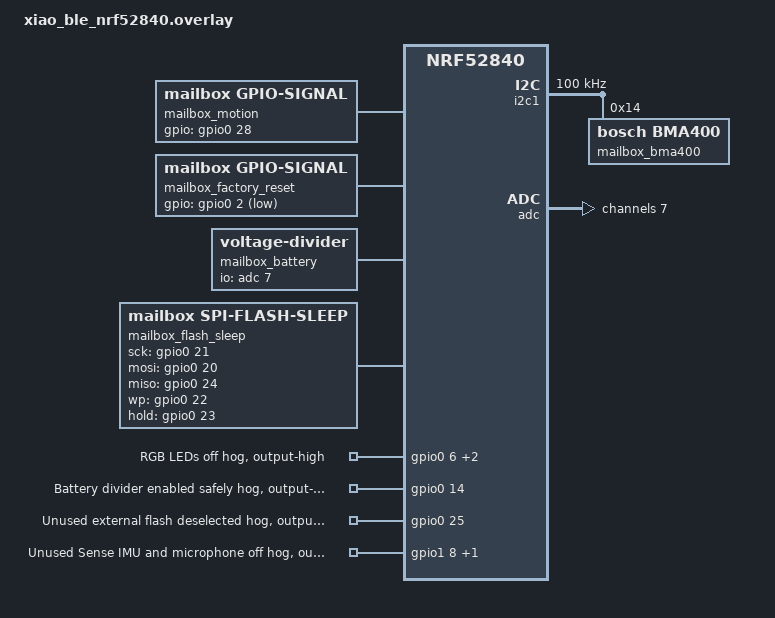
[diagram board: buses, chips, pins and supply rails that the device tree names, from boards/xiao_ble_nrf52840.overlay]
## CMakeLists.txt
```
# SPDX-License-Identifier: GPL-3.0-or-later
cmake_minimum_required(VERSION 3.20.0)
list(APPEND DTS_ROOT ${CMAKE_CURRENT_SOURCE_DIR})
# NCS 3.4.1 caches these internal header names without Kconfig string quotes.
# Do not let an incremental configure import them as command-line overrides.
foreach(header MBEDTLS_CONFIG_FILE TF_PSA_CRYPTO_CONFIG_FILE TF_PSA_CRYPTO_USER_CONFIG_FILE)
    unset(CONFIG_${header} CACHE)
    unset(CLI_CONFIG_${header} CACHE)
endforeach()
find_package(Zephyr REQUIRED HINTS $ENV{ZEPHYR_BASE})
project(nrf_mailbox_motion)
set(MAILBOX_ZAP_EXECUTABLE "$ENV{ZAP_CLI}" CACHE FILEPATH "Installed ZAP CLI executable")
if(NOT MAILBOX_ZAP_EXECUTABLE)
    find_program(MAILBOX_ZAP_EXECUTABLE_PATH NAMES zap-cli REQUIRED)
    set(MAILBOX_ZAP_EXECUTABLE "${MAILBOX_ZAP_EXECUTABLE_PATH}")
endif()
set(MAILBOX_MATTER_OUTPUT "${CMAKE_BINARY_DIR}/matter")
# Matter's Python codegen reads the IDL during configuration, so generate both
# the IDL and ZAP sources here, before configuring the SDK data model.
file(GLOB_RECURSE MAILBOX_ZAP_TEMPLATES CONFIGURE_DEPENDS
    "${ZEPHYR_CONNECTEDHOMEIP_MODULE_DIR}/src/app/zap-templates/*"
    "${ZEPHYR_CONNECTEDHOMEIP_MODULE_DIR}/src/app/common/templates/*"
)
set_property(DIRECTORY APPEND PROPERTY CMAKE_CONFIGURE_DEPENDS
    "${CMAKE_CURRENT_SOURCE_DIR}/src/data_model/mailbox-motion.zap"
    "${CMAKE_CURRENT_SOURCE_DIR}/scripts/generate.py"
    "${CMAKE_CURRENT_SOURCE_DIR}/scripts/nordic.py"
    "${MAILBOX_ZAP_EXECUTABLE}"
    ${MAILBOX_ZAP_TEMPLATES}
)
execute_process(
    COMMAND "${Python3_EXECUTABLE}" "${CMAKE_CURRENT_SOURCE_DIR}/scripts/generate.py"
        --zap "${MAILBOX_ZAP_EXECUTABLE}" --output-dir "${MAILBOX_MATTER_OUTPUT}"
    RESULT_VARIABLE MAILBOX_ZAP_RESULT
)
if(NOT MAILBOX_ZAP_RESULT EQUAL 0)
    message(FATAL_ERROR "Matter generation failed. Select an installed compatible ZAP CLI with --zap or ZAP_CLI.")
endif()
# Reconfigure if a generated file is removed, including builds run directly
# through Ninja rather than the Python wrapper.
file(GLOB_RECURSE MAILBOX_MATTER_GENERATED_FILES "${MAILBOX_MATTER_OUTPUT}/*")
set_property(DIRECTORY APPEND PROPERTY CMAKE_CONFIGURE_DEPENDS ${MAILBOX_MATTER_GENERATED_FILES})
include(${ZEPHYR_CONNECTEDHOMEIP_MODULE_DIR}/config/nrfconnect/app/enable-gnu-std.cmake)
set(MATTER_COMMON ${ZEPHYR_NRF_MODULE_DIR}/samples/matter/common/src)
target_include_directories(app PRIVATE src ${MAILBOX_MATTER_OUTPUT} ${MATTER_COMMON})
target_sources(app PRIVATE
    src/main.cpp src/app_task.cpp src/battery_monitor.cpp src/board_power.cpp src/radio_power.cpp
    src/bma400/Bma400Motion.cpp src/bma400/bma400.c
    ${MATTER_COMMON}/app/matter_init.cpp
    ${MATTER_COMMON}/app/matter_event_handler.cpp
    ${MATTER_COMMON}/clusters/cluster_init.cpp
)
zephyr_linker_sources(SECTIONS ${MATTER_COMMON}/clusters/cluster_init.ld)
target_sources_ifdef(CONFIG_MAILBOX_BOOT_DIAGNOSTICS app PRIVATE src/boot_diagnostics.cpp)
target_sources_ifdef(CONFIG_MAILBOX_BOOT_DIAGNOSTICS app PRIVATE src/boot_crash_diagnostics.cpp)
zephyr_link_libraries_ifdef(CONFIG_MAILBOX_BOOT_DIAGNOSTICS -Wl,--wrap=abort)
target_include_directories(matter-data-model PUBLIC "${MAILBOX_MATTER_OUTPUT}")
include(${ZEPHYR_CONNECTEDHOMEIP_MODULE_DIR}/src/app/chip_data_model.cmake)
chip_configure_data_model(matter-data-model
    BYPASS_IDL
    ZAP_FILE ${CMAKE_CURRENT_SOURCE_DIR}/src/data_model/mailbox-motion.zap
    IDL "${MAILBOX_MATTER_OUTPUT}/mailbox-motion.matter"
    GEN_DIR "${MAILBOX_MATTER_OUTPUT}/zap-generated"
)
```

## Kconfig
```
# SPDX-License-Identifier: GPL-3.0-or-later
mainmenu "XIAO Nordic Matter mailbox sensor"

# Nonblocking RTT when it is the selected backend. A choice default avoids
# assigning a disabled RTT choice in UART console builds.
if LOG_BACKEND_RTT
choice LOG_BACKEND_RTT_MODE
    default LOG_BACKEND_RTT_MODE_DROP
endchoice
endif

config MAILBOX_BATTERY_INSTALLED
    bool "A rechargeable LiPo battery is fitted"
    default n
    select ADC
    help
      Explicit opt-in. Charger voltage alone does not prove a battery is fitted.

config MAILBOX_RF_SWITCH_POWER_CONTROL
    bool "Power the XIAO antenna switch only during radio activity"
    depends on $(dt_nodelabel_enabled,mailbox_rf_power)
    depends on MPSL
    default y
    help
      Use MPSL ACTIVE/INACTIVE notifications to power the antenna switch
      for complete radio events, including Thread and Bluetooth activity.
      If registration fails, leave the switch powered so the radio works.
      Disabling this option keeps the antenna switch powered continuously.

config MAILBOX_BOOT_DIAGNOSTICS
    bool "Trace nRF52840 startup in USB diagnostic builds"
    depends on SOC_NRF52840 && USB_DEVICE_STACK
    default n
    help
      Diagnostic USB builds can show how far initialization progressed before
      main() or USB output is available. Direct RGB writes mark early startup;
      numbered pulse groups and bounded pauses trace application initialization.
      Leave disabled for normal battery-powered operation.

if OPENTHREAD
choice OPENTHREAD_NORDIC_LIBRARY_CONFIGURATION
    default OPENTHREAD_NORDIC_LIBRARY_MTD
endchoice
choice OPENTHREAD_DEVICE_TYPE
    default OPENTHREAD_MTD
endchoice
endif
source "${ZEPHYR_CONNECTEDHOMEIP_MODULE_DIR}/config/nrfconnect/chip-module/Kconfig.features"
source "${ZEPHYR_CONNECTEDHOMEIP_MODULE_DIR}/config/nrfconnect/chip-module/Kconfig.defaults"
source "${ZEPHYR_NRF_MODULE_DIR}/samples/matter/common/src/Kconfig"
source "Kconfig.zephyr"
```

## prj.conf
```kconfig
# SPDX-License-Identifier: GPL-3.0-or-later
CONFIG_CHIP=y
CONFIG_STD_CPP17=y
CONFIG_CHIP_PROJECT_CONFIG="src/chip_project_config.h"
CONFIG_CHIP_DEVICE_VENDOR_ID=65521
CONFIG_CHIP_DEVICE_PRODUCT_ID=32772
CONFIG_CHIP_DEVICE_VENDOR_NAME="Mailbox"
CONFIG_CHIP_DEVICE_PRODUCT_NAME="XIAO Mailbox"
CONFIG_CHIP_DEVICE_SERIAL_NUMBER="XIAO_NRF_MAILBOX"
# This Kconfig symbol is hex: 0x0F00 is decimal 3840 for matter_qr.png.
CONFIG_CHIP_DEVICE_DISCRIMINATOR=0x0F00
CONFIG_CHIP_DEVICE_SPAKE2_PASSCODE=20202021
CONFIG_CHIP_FACTORY_DATA_NONE=y
# Reset Matter/Thread operational settings while retaining factory credentials.
CONFIG_CHIP_FACTORY_RESET_ERASE_SETTINGS=n
CONFIG_REBOOT=y
CONFIG_CHIP_OTA_REQUESTOR=n
CONFIG_BOOTLOADER_MCUBOOT=n
CONFIG_USE_DT_CODE_PARTITION=y
CONFIG_CHIP_BOOTLOADER_NONE=y
CONFIG_CHIP_NFC_ONBOARDING_PAYLOAD=n
CONFIG_CHIP_ENABLE_PAIRING_AUTOSTART=n
CONFIG_BT_DEVICE_NAME="XIAO-Mailbox"
CONFIG_CHIP_BLE_EXT_ADVERTISING=y
CONFIG_CHIP_BLE_ADVERTISING_DURATION=15
CONFIG_CHIP_ENABLE_ICD_SUPPORT=y
CONFIG_CHIP_ICD_LIT_SUPPORT=n
CONFIG_OPENTHREAD_MTD=y
CONFIG_OPENTHREAD_MTD_SED=y
CONFIG_OPENTHREAD_NORDIC_LIBRARY_MTD=y
CONFIG_CHIP_ICD_SLOW_POLL_INTERVAL=15000
CONFIG_CHIP_ICD_FAST_POLLING_INTERVAL=200
CONFIG_CHIP_ICD_IDLE_MODE_DURATION=600
CONFIG_CHIP_ICD_ACTIVE_MODE_DURATION=0
CONFIG_CHIP_ICD_ACTIVE_MODE_THRESHOLD=0
CONFIG_GPIO=y
CONFIG_GPIO_HOGS=y
CONFIG_I2C=y
CONFIG_PM_DEVICE=y
CONFIG_PM_DEVICE_RUNTIME=y
CONFIG_DK_LIBRARY=n
CONFIG_NCS_SAMPLE_MATTER_TEST_EVENT_TRIGGERS=n
CONFIG_NCS_SAMPLE_MATTER_TEST_SHELL=n
CONFIG_CHIP_LIB_SHELL=n
CONFIG_SHELL=n
CONFIG_CONSOLE=n
CONFIG_UART_CONSOLE=n
CONFIG_SERIAL=n
CONFIG_USE_SEGGER_RTT=y
CONFIG_RTT_CONSOLE=n
CONFIG_LOG=y
CONFIG_LOG_MODE_DEFERRED=y
CONFIG_LOG_BACKEND_RTT=y
CONFIG_LOG_BACKEND_UART=n
CONFIG_MATTER_LOG_LEVEL_INF=y
CONFIG_CHIP_APP_LOG_LEVEL=3
CONFIG_RESET_ON_FATAL_ERROR=n
CONFIG_THREAD_NAME=y
CONFIG_SIZE_OPTIMIZATIONS=y

CONFIG_USB_DEVICE_STACK=n
# The SDK board defaults to a USB serial backend independently of SERIAL.
# Profiles explicitly select their console; the default image keeps USB off.
CONFIG_BOARD_SERIAL_BACKEND_CDC_ACM=n
```

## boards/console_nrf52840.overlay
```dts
/* SPDX-License-Identifier: Apache-2.0 */
/* Serial header console on D6 TX / D7 RX, not USB CDC. */
/ {
	chosen {
		zephyr,console = &uart0;
		zephyr,shell-uart = &uart0;
	};
};
&uart0 { status = "okay"; };
```

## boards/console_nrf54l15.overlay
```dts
/* SPDX-License-Identifier: Apache-2.0 */
/* UART20 P1.09 TX / P1.08 RX connects to the on-board SAMD11 USB bridge.
 * D6/D7 expose a different UART (UART21), and are not this console.
 */
/ {
	chosen {
		zephyr,console = &uart20;
		zephyr,shell-uart = &uart20;
	};
};
&uart20 { status = "okay"; };
```

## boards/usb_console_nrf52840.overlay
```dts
/* SPDX-License-Identifier: Apache-2.0 */
/* Native USB CDC uses the SDK board's CDC ACM child, not D6/D7 UART. */
/ {
	chosen {
		zephyr,console = &board_cdc_acm_uart;
		zephyr,shell-uart = &board_cdc_acm_uart;
	};
};
&usbd { status = "okay"; };
&uart0 { status = "disabled"; };
&gpio0 {
	/* Preserve the boot-stage LED through GPIO hog initialization. */
	/delete-node/ rgb_off;
};
```

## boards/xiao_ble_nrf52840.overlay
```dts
/* SPDX-License-Identifier: Apache-2.0 */
#include <zephyr/dt-bindings/adc/adc.h>
#include <zephyr/dt-bindings/adc/nrf-saadc.h>
#include <zephyr/dt-bindings/i2c/i2c.h>

/ {
	aliases {
		mailbox-motion = &mailbox_motion;
		mailbox-battery = &mailbox_battery;
		mailbox-factory-reset = &mailbox_factory_reset;
	};
	mailbox_motion: mailbox-motion {
		compatible = "mailbox,gpio-signal";
		gpios = <&gpio0 28 GPIO_ACTIVE_HIGH>; /* D2, BMA400 INT1 */
	};
	mailbox_factory_reset: mailbox-factory-reset {
		compatible = "mailbox,gpio-signal";
		gpios = <&gpio0 2 (GPIO_ACTIVE_LOW | GPIO_PULL_UP)>; /* D0, switch to GND */
	};
	mailbox_battery: mailbox-battery {
		compatible = "voltage-divider";
		io-channels = <&adc 7>;
		output-ohms = <510000>;
		full-ohms = <1510000>;
		/* P0.14 stays LOW: switching off the lower divider leg can
		 * overvoltage P0.31 while charging. See Seeed's current FAQ Q3.
		 */
	};
	mailbox_flash_sleep: mailbox-flash-sleep {
		compatible = "mailbox,spi-flash-sleep";
		cs-gpios = <&gpio0 25 GPIO_ACTIVE_LOW>;
		sck-gpios = <&gpio0 21 GPIO_ACTIVE_HIGH>;
		mosi-gpios = <&gpio0 20 GPIO_ACTIVE_HIGH>;
		miso-gpios = <&gpio0 24 GPIO_ACTIVE_HIGH>;
		wp-gpios = <&gpio0 22 GPIO_ACTIVE_HIGH>;
		hold-gpios = <&gpio0 23 GPIO_ACTIVE_HIGH>;
	};
};

&i2c1 {
	compatible = "nordic,nrf-twim";
	clock-frequency = <I2C_BITRATE_STANDARD>;
	zephyr,pm-device-runtime-auto;
	status = "okay";
	mailbox_bma400: bma400@14 {
		compatible = "bosch,bma400";
		reg = <0x14>;
	};
};

&adc {
	#address-cells = <1>;
	#size-cells = <0>;
	channel@7 {
		reg = <7>;
		zephyr,gain = "ADC_GAIN_1_6";
		zephyr,reference = "ADC_REF_INTERNAL";
		zephyr,acquisition-time = <ADC_ACQ_TIME(ADC_ACQ_TIME_MICROSECONDS, 40)>;
		zephyr,input-positive = <NRF_SAADC_AIN7>;
		zephyr,resolution = <12>;
	};
};

&gpio0 {
	/* INT1 and reset use low-power GPIO SENSE/PORT events, not IN channels. */
	sense-edge-mask = <0x10000004>;
	rgb_off {
		gpio-hog;
		gpios = <6 GPIO_ACTIVE_HIGH>, <26 GPIO_ACTIVE_HIGH>, <30 GPIO_ACTIVE_HIGH>;
		output-high;
		line-name = "RGB LEDs off";
	};
	battery_divider_safe {
		gpio-hog;
		gpios = <14 GPIO_ACTIVE_HIGH>;
		output-low;
		line-name = "Battery divider enabled safely";
	};
	flash_cs_idle {
		gpio-hog;
		gpios = <25 GPIO_ACTIVE_HIGH>;
		output-high;
		line-name = "Unused external flash deselected";
	};
};
&gpio1 {
	sense_power_off {
		gpio-hog;
		gpios = <8 GPIO_ACTIVE_HIGH>, <10 GPIO_ACTIVE_HIGH>;
		output-low;
		line-name = "Unused Sense IMU and microphone off";
	};
};

/* Only the external BMA400, ADC, and radio are needed for this sensor. */
&i2c0 { status = "disabled"; };
&uart0 { status = "disabled"; };
&spi2 { status = "disabled"; };
&qspi { status = "disabled"; };
/* Child status is independent: leaving this okay still instantiates the NOR
 * driver and initializes QSPI before main, even with its controller disabled.
 * The application instead puts this unused flash into deep power-down.
 */
&p25q16h { status = "disabled"; };
&pwm0 { status = "disabled"; };
&pdm0 { status = "disabled"; };
&usbd { status = "disabled"; };
```

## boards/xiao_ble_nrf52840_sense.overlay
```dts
/* SPDX-License-Identifier: Apache-2.0 */
#include "xiao_ble_nrf52840.overlay"

/* The board DTS turns on the internal IMU regulator by default. This
 * application uses the external BMA400; let the GPIO hogs keep it off.
 */
/ {
	/delete-node/ lsm6ds3tr-c-en;
	/delete-node/ msm261d3526hicpm-c-en;
};
```

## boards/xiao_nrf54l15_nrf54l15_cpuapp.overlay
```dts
/* SPDX-License-Identifier: Apache-2.0 */
#include <zephyr/dt-bindings/adc/adc.h>
#include <zephyr/dt-bindings/adc/nrf-saadc.h>
#include <zephyr/dt-bindings/i2c/i2c.h>

/* Use the SDK's XIAO board hardware description, with project-specific
 * peripheral power control and a direct-flash application layout.
 */
/ {
	chosen {
		zephyr,code-partition = &slot0_partition;
	};
	aliases {
		mailbox-motion = &mailbox_motion;
		mailbox-battery = &mailbox_battery;
		mailbox-factory-reset = &mailbox_factory_reset;
	};
	mailbox_motion: mailbox-motion {
		compatible = "mailbox,gpio-signal";
		gpios = <&gpio1 6 GPIO_ACTIVE_HIGH>; /* D2, BMA400 INT1 */
	};
	mailbox_factory_reset: mailbox-factory-reset {
		compatible = "mailbox,gpio-signal";
		gpios = <&gpio1 4 (GPIO_ACTIVE_LOW | GPIO_PULL_UP)>; /* D0, switch to GND */
	};
	mailbox_rf_power: mailbox-rf-power {
		compatible = "mailbox,gpio-signal";
		gpios = <&gpio2 3 GPIO_ACTIVE_HIGH>;
	};
	mailbox_battery: mailbox-battery {
		compatible = "voltage-divider";
		io-channels = <&adc 7>;
		output-ohms = <10000>;
		full-ohms = <20000>;
		power-gpios = <&gpio1 15 GPIO_ACTIVE_HIGH>;
		power-on-sample-delay-us = <2000>;
	};
};

/* The SDK board enables the Sense peripherals and battery power regulator.
 * This application uses an external BMA400 and controls those power pins with
 * the GPIO hogs below (or temporarily from the battery monitor). Radio power
 * control owns P2.03; retain rfsw_ctl to hold P2.05 low for the internal antenna.
 */
&pdm_imu_pwr { status = "disabled"; };
&vbat_pwr { status = "disabled"; };
&rfsw_pwr { status = "disabled"; };
&imu_power_default_on { status = "disabled"; };
&lsm6ds3tr_c { status = "disabled"; };
&i2c30 { status = "disabled"; };
&pdm20 { status = "disabled"; };
&spi00 { status = "disabled"; };
&nfct { status = "disabled"; };
&uart20 { status = "disabled"; };
&uart21 { status = "disabled"; };

/* Replace the SDK's MCUboot/dual-slot layout. SAMD11 debug firmware runs on
 * a separate MCU; reserve the final 52 KiB for Matter/OpenThread settings.
 */
&cpuapp_rram {
	/delete-node/ partitions;
	partitions {
		#address-cells = <1>;
		#size-cells = <1>;
		slot0_partition: partition@0 {
			compatible = "zephyr,mapped-partition";
			label = "image-0";
			reg = <0x0 0x170000>;
		};
		storage_partition: partition@170000 {
			compatible = "zephyr,mapped-partition";
			label = "storage";
			reg = <0x170000 0xd000>;
		};
	};
};

&i2c22 {
	clock-frequency = <I2C_BITRATE_STANDARD>;
	zephyr,pm-device-runtime-auto;
	status = "okay";
	mailbox_bma400: bma400@14 {
		compatible = "bosch,bma400";
		reg = <0x14>;
	};
};

&adc {
	#address-cells = <1>;
	#size-cells = <0>;
	channel@7 {
		reg = <7>;
		zephyr,gain = "ADC_GAIN_1_4";
		zephyr,reference = "ADC_REF_INTERNAL";
		zephyr,acquisition-time = <ADC_ACQ_TIME_DEFAULT>;
		zephyr,input-positive = <NRF_SAADC_AIN7>;
		zephyr,resolution = <12>;
		zephyr,oversampling = <0>;
	};
};

&gpio0 {
	sense_power_off {
		gpio-hog;
		gpios = <1 GPIO_ACTIVE_HIGH>;
		output-low;
		line-name = "Unused Sense IMU and microphone off";
	};
};
&gpio1 {
	/* INT1 and reset use low-power GPIO SENSE/PORT events, not IN channels. */
	sense-edge-mask = <0x50>;
	battery_divider_off {
		gpio-hog;
		gpios = <15 GPIO_ACTIVE_HIGH>;
		output-low;
		line-name = "Battery divider off until sampled";
	};
};
&gpio2 {
	user_led_off {
		gpio-hog;
		gpios = <0 GPIO_ACTIVE_HIGH>;
		output-high;
		line-name = "User LED off";
	};
};
```

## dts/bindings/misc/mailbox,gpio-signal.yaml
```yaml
# SPDX-License-Identifier: Apache-2.0
description: GPIO signal used directly by the mailbox application.
compatible: "mailbox,gpio-signal"
include: base.yaml
properties:
  gpios:
    type: phandle-array
    required: true
```

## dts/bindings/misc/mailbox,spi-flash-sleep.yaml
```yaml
# SPDX-License-Identifier: Apache-2.0
description: GPIO wiring for sending the unused onboard SPI flash to deep power down.
compatible: "mailbox,spi-flash-sleep"
include: base.yaml
properties:
  cs-gpios:
    type: phandle-array
    required: true
  sck-gpios:
    type: phandle-array
    required: true
  mosi-gpios:
    type: phandle-array
    required: true
  miso-gpios:
    type: phandle-array
    required: true
  wp-gpios:
    type: phandle-array
    required: true
  hold-gpios:
    type: phandle-array
    required: true
```

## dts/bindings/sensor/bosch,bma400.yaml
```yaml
# SPDX-License-Identifier: Apache-2.0
description: Bosch BMA400 connected over I2C, controlled by the application's SensorAPI.
compatible: "bosch,bma400"
include: i2c-device.yaml
```

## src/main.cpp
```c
// SPDX-License-Identifier: GPL-3.0-or-later
#include "app_task.h"
#include "boot_crash_diagnostics.h"
#include <zephyr/kernel.h>
#include <zephyr/logging/log.h>
LOG_MODULE_REGISTER(app, CONFIG_CHIP_APP_LOG_LEVEL);
int main()
{
#if defined(CONFIG_MAILBOX_BOOT_DIAGNOSTICS)
    LOG_INF("Boot stage: main entered");
    /* Let logging/shell threads and the host observe USB before app init. */
    k_sleep(K_SECONDS(5));
    MailboxBootCrashReportAndIdle();
#endif
    const CHIP_ERROR err = AppTask::Instance().StartApp();
    LOG_ERR("Application stopped: %" CHIP_ERROR_FORMAT, err.Format());
    return err == CHIP_NO_ERROR ? 0 : 1;
}
```

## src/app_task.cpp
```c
// SPDX-License-Identifier: GPL-3.0-or-later
#include "app_task.h"
#include "board_power.h"
#include "boot_diagnostics.h"
#include "app/matter_init.h"
#include <app-common/zap-generated/attributes/Accessors.h>
#include <app/clusters/power-source-server/power-source-server.h>
#include <app/clusters/identify-server/identify-server.h>
#include <app/icd/server/ICDNotifier.h>
#include <app/server/Server.h>
#include <lib/support/CodeUtils.h>
#include <platform/CHIPDeviceLayer.h>
#include <setup_payload/OnboardingCodesUtil.h>
#include <zephyr/irq.h>
#include <zephyr/logging/log.h>
#ifdef CONFIG_SHELL
#include <zephyr/shell/shell.h>
#endif

LOG_MODULE_DECLARE(app, CONFIG_CHIP_APP_LOG_LEVEL);
using namespace chip;
using namespace chip::app;
using namespace chip::app::Clusters;
using namespace chip::DeviceLayer;
namespace {
constexpr EndpointId kMotionEndpoint = 1;
constexpr EndpointId kBatteryEndpoint = 2;
// Register Identify lifecycle even when the low-power profile has no visible indicator.
::Identify sIdentify{kMotionEndpoint, [](::Identify *) {}, [](::Identify *) {},
                     Clusters::Identify::IdentifyTypeEnum::kNone};
constexpr uint32_t kMotionHoldMs = 5000;
constexpr uint32_t kSensorRetryMs = 60000;
constexpr uint32_t kBatteryIntervalMs = 24 * 60 * 60 * 1000;
constexpr gpio_dt_spec kMotionPin = GPIO_DT_SPEC_GET(DT_ALIAS(mailbox_motion), gpios);
constexpr gpio_dt_spec kFactoryResetPin = GPIO_DT_SPEC_GET(DT_ALIAS(mailbox_factory_reset), gpios);
K_SEM_DEFINE(sWake, 0, 1);

#ifdef CONFIG_SHELL
int MailboxCommand(const shell *sh, size_t argc, char **argv)
{
    if (argc != 2) { shell_error(sh, "Use mailbox status|motion|battery|commission"); return -EINVAL; }
    AppTask::Event event;
    if (!strcmp(argv[1], "status")) event = AppTask::Status;
    else if (!strcmp(argv[1], "motion")) event = AppTask::TestMotion;
    else if (!strcmp(argv[1], "battery")) event = AppTask::Battery;
    else if (!strcmp(argv[1], "commission")) event = AppTask::Commission;
    else return -EINVAL;
    AppTask::Instance().PostEvent(event);
    return 0;
}
SHELL_CMD_ARG_REGISTER(mailbox, NULL, "Mailbox diagnostics: status, motion, battery, commission", MailboxCommand, 2, 0);
#endif
}

AppTask &AppTask::Instance() { static AppTask app; return app; }
void AppTask::PostEvent(Event event)
{
    // Persistent bits survive concurrent IRQ/timer activity and a full wake semaphore.
    atomic_or(&mEvents, event);
    k_sem_give(&sWake);
}
void AppTask::MotionInterrupt(const device *, gpio_callback *, gpio_port_pins_t)
{
    gpio_pin_interrupt_configure_dt(&kMotionPin, GPIO_INT_DISABLE);
    Instance().PostEvent(Motion);
}
void AppTask::MotionTimeout(k_timer *) { Instance().PostEvent(MotionExpired); }
void AppTask::SensorTimeout(k_timer *) { Instance().PostEvent(RetrySensor); }
void AppTask::BatteryTimeout(k_timer *) { Instance().PostEvent(Battery); }
void AppTask::FactoryResetInterrupt(const device *, gpio_callback *, gpio_port_pins_t)
{
    auto &app = Instance();
    atomic_inc(&app.mFactoryResetEdges);
    app.PostEvent(ResetButton);
}
void AppTask::FactoryResetTimeout(k_timer *) { Instance().PostEvent(ResetButtonTimer); }

CHIP_ERROR AppTask::Init()
{
    LOG_INF("Initializing mailbox hardware");
    // Early initialization sets board outputs and RF power before radios start.
    MailboxBootCheckpoint(BootDiagnosticStage::BoardPowerBegin, "before InitBoardPower");
    VerifyOrReturnError(InitBoardPower() == 0, CHIP_ERROR_INCORRECT_STATE);
    MailboxBootCheckpoint(BootDiagnosticStage::BoardPowerComplete, "after InitBoardPower");
    MailboxBootCheckpoint(BootDiagnosticStage::MotionGpioBegin, "before motion GPIO configure");
    VerifyOrReturnError(gpio_is_ready_dt(&kMotionPin), CHIP_ERROR_INCORRECT_STATE);
    VerifyOrReturnError(gpio_pin_configure_dt(&kMotionPin, GPIO_INPUT | GPIO_PULL_DOWN) == 0,
                        CHIP_ERROR_INCORRECT_STATE);
    MailboxBootCheckpoint(BootDiagnosticStage::MotionGpioComplete, "after motion GPIO configure");
    MailboxBootCheckpoint(BootDiagnosticStage::MotionCallbackBegin, "before motion GPIO callback");
    gpio_init_callback(&mMotionCallback, MotionInterrupt, BIT(kMotionPin.pin));
    VerifyOrReturnError(gpio_add_callback(kMotionPin.port, &mMotionCallback) == 0, CHIP_ERROR_INCORRECT_STATE);
    MailboxBootCheckpoint(BootDiagnosticStage::MotionCallbackComplete, "after motion GPIO callback");
    MailboxBootCheckpoint(BootDiagnosticStage::TimersBegin, "before application timers init");
    k_timer_init(&mMotionTimer, MotionTimeout, nullptr);
    k_timer_init(&mSensorTimer, SensorTimeout, nullptr);
    k_timer_init(&mBatteryTimer, BatteryTimeout, nullptr);
    k_timer_init(&mFactoryResetTimer, FactoryResetTimeout, nullptr);
    MailboxBootCheckpoint(BootDiagnosticStage::TimersComplete, "after application timers init");
    VerifyOrReturnError(gpio_is_ready_dt(&kFactoryResetPin), CHIP_ERROR_INCORRECT_STATE);
    VerifyOrReturnError(gpio_pin_configure_dt(&kFactoryResetPin, GPIO_INPUT | GPIO_PULL_UP) == 0,
                        CHIP_ERROR_INCORRECT_STATE);
    const int resetPressed = gpio_pin_get_dt(&kFactoryResetPin);
    VerifyOrReturnError(resetPressed >= 0, CHIP_ERROR_INCORRECT_STATE);
    mFactoryResetButton.Initialize(resetPressed > 0);
    gpio_init_callback(&mFactoryResetCallback, FactoryResetInterrupt, BIT(kFactoryResetPin.pin));
    VerifyOrReturnError(gpio_add_callback(kFactoryResetPin.port, &mFactoryResetCallback) == 0,
                        CHIP_ERROR_INCORRECT_STATE);
    VerifyOrReturnError(gpio_pin_interrupt_configure_dt(&kFactoryResetPin, GPIO_INT_EDGE_BOTH) == 0,
                        CHIP_ERROR_INCORRECT_STATE);
    // Catch a change between the initial sample and enabling the PORT interrupt.
    const int resetPressedAfterEnable = gpio_pin_get_dt(&kFactoryResetPin);
    VerifyOrReturnError(resetPressedAfterEnable >= 0, CHIP_ERROR_INCORRECT_STATE);
    if (resetPressedAfterEnable != resetPressed) {
        atomic_inc(&mFactoryResetEdges);
        PostEvent(ResetButton);
    }
    MailboxBootCheckpoint(BootDiagnosticStage::BatteryBegin, "before battery init");
    mBattery.Init();
    MailboxBootCheckpoint(BootDiagnosticStage::BatteryComplete, "after battery init");
    LOG_INF("Preparing Matter server");
    MailboxBootCheckpoint(BootDiagnosticStage::PrepareServerBegin, "before PrepareServer");
    ReturnErrorOnFailure(Nrf::Matter::PrepareServer());
    MailboxBootCheckpoint(BootDiagnosticStage::PrepareServerComplete, "after PrepareServer");
    LOG_INF("Starting Matter server");
    MailboxBootCheckpoint(BootDiagnosticStage::StartServerBegin, "before StartServer");
    ReturnErrorOnFailure(Nrf::Matter::StartServer());
    MailboxBootCheckpoint(BootDiagnosticStage::StartServerComplete, "after StartServer");
    LOG_INF("Initializing Matter endpoints");
    {
        StackLock lock;
        ReturnErrorOnFailure(mOccupancy.Init());
        const OccupancySensing::Structs::HoldTimeLimitsStruct::Type limits{5, 5, 5};
        ReturnErrorOnFailure(OccupancySensing::SetHoldTimeLimits(kMotionEndpoint, limits));
        ReturnErrorOnFailure(OccupancySensing::SetHoldTime(kMotionEndpoint, 5));
        EndpointId endpoints[] = { kMotionEndpoint };
        ReturnErrorOnFailure(PowerSourceServer::Instance().SetEndpointList(kBatteryEndpoint, Span<EndpointId>(endpoints)));
    }
    LOG_INF("Matter endpoints ready");
    SetOccupancy(false);
    RearmSensor();
    SampleBattery();
    OpenCommissioningWindow();
    PrintStatus();
    return CHIP_NO_ERROR;
}

CHIP_ERROR AppTask::StartApp()
{
    ReturnErrorOnFailure(Init());
    for (;;) {
        k_sem_take(&sWake, K_FOREVER);
        const atomic_val_t events = atomic_set(&mEvents, 0);
        if (events & (ResetButton | ResetButtonTimer)) HandleFactoryResetButton();
        if (mFactoryResetStarted) continue;
        if (events & MotionExpired) { SetOccupancy(false); RearmSensor(); }
        if (events & RetrySensor) { if (!mOccupied) RearmSensor(); }
        if (events & Motion) HandleMotion(false);
        if (events & TestMotion) HandleMotion(true);
        if (events & Battery) SampleBattery();
        if (events & Commission) OpenCommissioningWindow();
        if (events & Status) PrintStatus();
    }
}

void AppTask::HandleFactoryResetButton()
{
    if (mFactoryResetStarted) return;
    // Observe edges, the pin and the deadline together. An old timer event must
    // never count time from a press that has since been released/repressed.
    const unsigned int key = irq_lock();
    const uint64_t nowMs = k_uptime_get();
    const atomic_val_t edges = atomic_get(&mFactoryResetEdges);
    if (edges != mFactoryResetObservedEdges) {
        mFactoryResetObservedEdges = edges;
        mFactoryResetButton.Edge(nowMs);
    }
    const int pressed = gpio_pin_get_dt(&kFactoryResetPin);
    bool reset = false;
    if (pressed < 0) mFactoryResetButton.Cancel();
    else reset = mFactoryResetButton.Timer(pressed > 0, nowMs);
    const uint32_t delayMs = mFactoryResetButton.NextDelayMs(nowMs);
    irq_unlock(key);

    k_timer_stop(&mFactoryResetTimer);
    if (pressed < 0) {
        LOG_ERR("Cannot read factory reset button: %d", pressed);
    } else if (reset) {
        mFactoryResetStarted = true;
        gpio_pin_interrupt_configure_dt(&kFactoryResetPin, GPIO_INT_DISABLE);
        LOG_INF("Factory reset: erasing Matter fabrics, operational settings and Thread network");
        // SDK reset clears operational storage and reboots. Factory data (or
        // compile-time onboarding credentials) is retained for the next pairing.
        StackLock lock;
        Server::GetInstance().ScheduleFactoryReset();
    } else if (delayMs != FactoryResetButton::kNoTimer) {
        k_timer_start(&mFactoryResetTimer, K_MSEC(delayMs), K_NO_WAIT);
    }
}

void AppTask::RearmSensor()
{
    gpio_pin_interrupt_configure_dt(&kMotionPin, GPIO_INT_DISABLE);
    mSensorReady = mSensor.Init() == BMA400_OK;
    uint16_t ignored = 0;
    if (mSensorReady) mSensorReady = mSensor.ReadInterruptStatus(ignored) == BMA400_OK;
    if (mSensorReady) {
        int rc = gpio_pin_configure_dt(&kMotionPin, GPIO_INPUT);
        if (rc == 0) rc = gpio_pin_interrupt_configure_dt(&kMotionPin, GPIO_INT_EDGE_TO_ACTIVE);
        if (rc == 0) {
            k_timer_stop(&mSensorTimer);
            LOG_INF("BMA400 ready, chip=0x%02x", static_cast<unsigned>(mSensor.ChipId()));
            // Handle a level asserted before the rising-edge interrupt was enabled.
            if (gpio_pin_get_dt(&kMotionPin) > 0) {
                gpio_pin_interrupt_configure_dt(&kMotionPin, GPIO_INT_DISABLE);
                PostEvent(Motion);
            }
            return;
        }
        mSensorReady = false;
        LOG_ERR("Cannot enable motion IRQ: %d", rc);
    }
    gpio_pin_configure_dt(&kMotionPin, GPIO_INPUT | GPIO_PULL_DOWN);
    LOG_WRN("BMA400 unavailable (error=%d), retry in 60 seconds", mSensor.LastError());
    k_timer_start(&mSensorTimer, K_MSEC(kSensorRetryMs), K_NO_WAIT);
}

void AppTask::HandleMotion(bool simulated)
{
    if (mOccupied) return;
    gpio_pin_interrupt_configure_dt(&kMotionPin, GPIO_INT_DISABLE);
    k_timer_stop(&mSensorTimer);
    if (!simulated) {
        uint16_t status = 0;
        if (!mSensorReady || mSensor.ReadInterruptStatus(status) != BMA400_OK) {
            mSensorReady = false;
            RearmSensor();
            return;
        }
        LOG_INF("BMA400 interrupt=0x%04x", static_cast<unsigned>(status));
    }
    ++mMotionCount;
    SetOccupancy(true);
    k_timer_start(&mMotionTimer, K_MSEC(kMotionHoldMs), K_NO_WAIT);
}

void AppTask::SetOccupancy(bool occupied)
{
    BitMask<OccupancySensing::OccupancyBitmap> state;
    if (occupied) state.Set(OccupancySensing::OccupancyBitmap::kOccupied);
    StackLock lock;
    ICDNotifier::GetInstance().NotifyNetworkActivityNotification();
    const auto result = OccupancySensing::Attributes::Occupancy::Set(kMotionEndpoint, state);
    mOccupied = occupied;
    LOG_INF("Mailbox occupancy=%u endpoint=1 status=0x%02x", static_cast<unsigned>(occupied),
            static_cast<unsigned>(result));
}

void AppTask::SampleBattery()
{
    DataModel::Nullable<uint32_t> voltage;
    DataModel::Nullable<uint8_t> percentage;
    bool present = false, low = false;
    if (IS_ENABLED(CONFIG_MAILBOX_BATTERY_INSTALLED)) {
        const auto sample = mBattery.Sample();
        k_timer_start(&mBatteryTimer, K_MSEC(kBatteryIntervalMs), K_NO_WAIT);
        if (!sample.valid) {
            LOG_WRN("Battery ADC failed; retaining last valid attributes");
            if (mBatteryValid) return;
        } else {
            mBatteryValid = true;
            present = true;
            low = sample.low;
            voltage.SetNonNull(sample.millivolts);
            percentage.SetNonNull(sample.halfPercent);
            LOG_INF("Mailbox battery=%u mV charge=%u/200 low=%u", static_cast<unsigned>(sample.millivolts),
                    static_cast<unsigned>(sample.halfPercent), static_cast<unsigned>(low));
        }
    }
    StackLock lock;
    PowerSource::Attributes::Status::Set(kBatteryEndpoint, present ?
        PowerSource::PowerSourceStatusEnum::kActive : PowerSource::PowerSourceStatusEnum::kUnavailable);
    PowerSource::Attributes::BatPresent::Set(kBatteryEndpoint, present);
    PowerSource::Attributes::BatVoltage::Set(kBatteryEndpoint, voltage);
    PowerSource::Attributes::BatPercentRemaining::Set(kBatteryEndpoint, percentage);
    PowerSource::Attributes::BatReplacementNeeded::Set(kBatteryEndpoint, low);
    PowerSource::Attributes::BatChargeLevel::Set(kBatteryEndpoint, low ?
        PowerSource::BatChargeLevelEnum::kWarning : PowerSource::BatChargeLevelEnum::kOk);
}

void AppTask::PrintStatus()
{
    StackLock lock;
    auto &server = Server::GetInstance();
    LOG_INF("Mailbox sensor=%s occupancy=%u motion_count=%u fabrics=%u INT1=%d battery_installed=%u window=%u ble_enabled=%u ble_advertising=%u ble_connections=%u",
        mSensorReady ? "ready" : "unavailable", static_cast<unsigned>(mOccupied), mMotionCount,
        static_cast<unsigned>(server.GetFabricTable().FabricCount()), gpio_pin_get_dt(&kMotionPin),
        IS_ENABLED(CONFIG_MAILBOX_BATTERY_INSTALLED),
        static_cast<unsigned>(server.GetCommissioningWindowManager().IsCommissioningWindowOpen()),
        static_cast<unsigned>(ConnectivityMgr().IsBLEAdvertisingEnabled()),
        static_cast<unsigned>(ConnectivityMgr().IsBLEAdvertising()),
        static_cast<unsigned>(ConnectivityMgr().NumBLEConnections()));
}

void AppTask::OpenCommissioningWindow()
{
    StackLock lock;
    auto &server = Server::GetInstance();
    if (server.GetFabricTable().FabricCount() != 0) {
        LOG_INF("Commissioning skipped: device already has a fabric");
        return;
    }
    if (ConnectivityMgr().NumBLEConnections() != 0) {
        LOG_INF("Commissioning window/session already active");
        return;
    }
    if (server.GetCommissioningWindowManager().IsCommissioningWindowOpen())
        server.GetCommissioningWindowManager().CloseCommissioningWindow();
    const auto err = server.GetCommissioningWindowManager().OpenBasicCommissioningWindow(
        System::Clock::Seconds16(900), CommissioningWindowAdvertisement::kAllSupported);
    if (err != CHIP_NO_ERROR) { LOG_ERR("Commissioning failed: %" CHIP_ERROR_FORMAT, err.Format()); return; }
    PrintOnboardingCodes(RendezvousInformationFlags(RendezvousInformationFlag::kBLE));
    LOG_INF("Commissioning window open for 15 minutes");
}
```

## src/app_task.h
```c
// SPDX-License-Identifier: GPL-3.0-or-later
#pragma once
#include "bma400/Bma400Motion.h"
#include "battery_monitor.h"
#include "factory_reset_button.h"
#include <app/clusters/occupancy-sensor-server/occupancy-sensor-server.h>
#include <lib/core/CHIPError.h>
#include <zephyr/drivers/gpio.h>
#include <zephyr/kernel.h>
#include <zephyr/sys/atomic.h>

class AppTask {
public:
    enum Event : atomic_val_t {
        Motion = BIT(0), MotionExpired = BIT(1), RetrySensor = BIT(2),
        Battery = BIT(3), Status = BIT(4), Commission = BIT(5), TestMotion = BIT(6),
        ResetButton = BIT(7), ResetButtonTimer = BIT(8)
    };
    static AppTask &Instance();
    CHIP_ERROR StartApp();
    void PostEvent(Event event);
private:
    CHIP_ERROR Init();
    void RearmSensor();
    void HandleMotion(bool simulated);
    void SetOccupancy(bool occupied);
    void SampleBattery();
    void PrintStatus();
    void OpenCommissioningWindow();
    void HandleFactoryResetButton();
    static void MotionInterrupt(const device *, gpio_callback *, gpio_port_pins_t);
    static void FactoryResetInterrupt(const device *, gpio_callback *, gpio_port_pins_t);
    static void MotionTimeout(k_timer *);
    static void SensorTimeout(k_timer *);
    static void BatteryTimeout(k_timer *);
    static void FactoryResetTimeout(k_timer *);
    Bma400Motion mSensor;
    BatteryMonitor mBattery;
    chip::app::Clusters::OccupancySensing::Instance mOccupancy{
        chip::BitMask<chip::app::Clusters::OccupancySensing::Feature>(
            chip::app::Clusters::OccupancySensing::Feature::kPassiveInfrared)};
    gpio_callback mMotionCallback{};
    gpio_callback mFactoryResetCallback{};
    k_timer mMotionTimer{}, mSensorTimer{}, mBatteryTimer{};
    k_timer mFactoryResetTimer{};
    FactoryResetButton mFactoryResetButton;
    atomic_t mFactoryResetEdges = ATOMIC_INIT(0);
    atomic_val_t mFactoryResetObservedEdges = 0;
    atomic_t mEvents = ATOMIC_INIT(0);
    bool mFactoryResetStarted = false;
    bool mSensorReady = false;
    bool mOccupied = false;
    bool mBatteryValid = false;
    uint32_t mMotionCount = 0;
};
```

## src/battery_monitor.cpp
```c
// SPDX-License-Identifier: GPL-3.0-or-later
#include "battery_monitor.h"

#if defined(CONFIG_MAILBOX_BATTERY_INSTALLED)
#include <zephyr/drivers/adc.h>
#include <zephyr/drivers/gpio.h>
#include <zephyr/kernel.h>

namespace {
#define BATTERY_NODE DT_ALIAS(mailbox_battery)
const adc_dt_spec kBatteryAdc = ADC_DT_SPEC_GET(BATTERY_NODE);
constexpr uint32_t kFullOhms = DT_PROP(BATTERY_NODE, full_ohms);
constexpr uint32_t kOutputOhms = DT_PROP(BATTERY_NODE, output_ohms);
constexpr uint32_t kSettlingUs = DT_PROP_OR(BATTERY_NODE, power_on_sample_delay_us, 2000);
constexpr unsigned kSamples = 8;
static_assert(kOutputOhms > 0 && kFullOhms >= kOutputOhms, "Invalid battery divider");

#if DT_NODE_HAS_PROP(BATTERY_NODE, power_gpios)
const gpio_dt_spec kDividerPower = GPIO_DT_SPEC_GET(BATTERY_NODE, power_gpios);

bool SetDividerPower(bool enabled)
{
    return gpio_pin_set_dt(&kDividerPower, enabled ? 1 : 0) == 0;
}
#else
// XIAO nRF52840 keeps the lower divider leg connected with a GPIO hog. Its
// board overlay deliberately has no power-gpios: disconnecting that leg can
// expose the ADC pin to cell voltage above the Nordic absolute maximum.
bool SetDividerPower(bool) { return true; }
#endif
} // namespace
#endif

bool BatteryMonitor::Init()
{
    mReady = false;
#if defined(CONFIG_MAILBOX_BATTERY_INSTALLED)
    if (!adc_is_ready_dt(&kBatteryAdc) || kBatteryAdc.resolution == 0 ||
        kBatteryAdc.resolution > 15 || kBatteryAdc.channel_cfg.differential)
        return false;
#if DT_NODE_HAS_PROP(BATTERY_NODE, power_gpios)
    if (!gpio_is_ready_dt(&kDividerPower) ||
        gpio_pin_configure_dt(&kDividerPower, GPIO_OUTPUT_INACTIVE) != 0)
        return false;
#endif
    mReady = adc_channel_setup_dt(&kBatteryAdc) == 0;
#endif
    return mReady;
}

BatteryMonitor::SampleResult BatteryMonitor::Sample()
{
    SampleResult result;
#if defined(CONFIG_MAILBOX_BATTERY_INSTALLED)
    if (!mReady || !SetDividerPower(true))
        return result;
    // Respect the overlay's active polarity and settling time.
    k_usleep(kSettlingUs);
    int16_t sample = 0;
    adc_sequence sequence{};
    sequence.buffer = &sample;
    sequence.buffer_size = sizeof(sample);
    bool valid = adc_sequence_init_dt(&kBatteryAdc, &sequence) == 0;
    uint32_t sum = 0;
    const uint32_t saturation = (1u << kBatteryAdc.resolution) - 1;
    // Discard the first conversion after switching the analog path.
    for (unsigned i = 0; valid && i <= kSamples; ++i)
    {
        valid = adc_read_dt(&kBatteryAdc, &sequence) == 0 &&
            sample >= 0 && static_cast<uint32_t>(sample) < saturation;
        if (valid && i != 0)
            sum += static_cast<uint16_t>(sample);
    }
    // Always release the switched divider, including failed conversions.
    valid = SetDividerPower(false) && valid;
    if (!valid)
        return result;
    int32_t dividerMv = static_cast<int32_t>((sum + kSamples / 2) / kSamples);
    if (adc_raw_to_millivolts_dt(&kBatteryAdc, &dividerMv) != 0 || dividerMv < 0)
        return result;
    const uint32_t millivolts = static_cast<uint32_t>(
        (static_cast<uint64_t>(dividerMv) * kFullOhms + kOutputOhms / 2) / kOutputOhms);
    if (millivolts < 2200 || millivolts > 4500)
        return result;
    const uint32_t bounded = millivolts < 3500 ? 3500 : (millivolts > 4200 ? 4200 : millivolts);
    const uint8_t percent = static_cast<uint8_t>((bounded - 3500) * 100 / 700);
    result.valid = true;
    result.millivolts = millivolts;
    // Match the reference's coarse voltage estimate; Matter uses 0.5% units.
    result.halfPercent = static_cast<uint8_t>(percent * 2);
    result.low = percent < 20;
#endif
    return result;
}
```

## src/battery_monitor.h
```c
// SPDX-License-Identifier: GPL-3.0-or-later
#pragma once

#include <stdint.h>

class BatteryMonitor
{
public:
    struct SampleResult
    {
        bool valid = false;
        uint32_t millivolts = 0;
        uint8_t halfPercent = 0;
        bool low = false;
    };

    // Battery presence is an explicit build choice. USB can energize the
    // charger's BAT node even with no cell fitted, so voltage is not proof.
    bool Init();
    SampleResult Sample();

private:
    bool mReady = false;
};
```

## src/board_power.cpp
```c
// SPDX-License-Identifier: GPL-3.0-or-later
#include "board_power.h"
#include "boot_diagnostics.h"
#include "radio_power.h"

#include <errno.h>
#include <zephyr/devicetree.h>
#include <zephyr/drivers/gpio.h>
#include <zephyr/kernel.h>

#if DT_NODE_EXISTS(DT_NODELABEL(mailbox_flash_sleep))
namespace {
#define FLASH_SLEEP_NODE DT_NODELABEL(mailbox_flash_sleep)
const gpio_dt_spec kCs = GPIO_DT_SPEC_GET(FLASH_SLEEP_NODE, cs_gpios);
const gpio_dt_spec kSck = GPIO_DT_SPEC_GET(FLASH_SLEEP_NODE, sck_gpios);
const gpio_dt_spec kMosi = GPIO_DT_SPEC_GET(FLASH_SLEEP_NODE, mosi_gpios);
const gpio_dt_spec kMiso = GPIO_DT_SPEC_GET(FLASH_SLEEP_NODE, miso_gpios);
const gpio_dt_spec kWp = GPIO_DT_SPEC_GET(FLASH_SLEEP_NODE, wp_gpios);
const gpio_dt_spec kHold = GPIO_DT_SPEC_GET(FLASH_SLEEP_NODE, hold_gpios);

int SendDeepPowerDown()
{
    // P25Q16H datasheet sections 5.3 and 10.30: SPI mode 0, MSB first,
    // command B9h; no write-enable or address. GPIO clocks avoid bringing
    // up a QSPI driver solely for an unused device. Both QSPI and SPI are
    // disabled by the board overlay, so these pins have no concurrent owner.
    constexpr unsigned command = 0xb9;
    int ret = gpio_pin_set_dt(&kCs, 1);
    if (ret < 0) return ret;
    for (unsigned mask = 0x80; mask; mask >>= 1) {
        ret = gpio_pin_set_dt(&kMosi, (command & mask) != 0);
        if (ret < 0) return ret;
        k_busy_wait(1);
        ret = gpio_pin_set_dt(&kSck, 1);
        if (ret < 0) return ret;
        k_busy_wait(1);
        ret = gpio_pin_set_dt(&kSck, 0);
        if (ret < 0) return ret;
    }
    k_busy_wait(1);
    return 0;
}
} // namespace
#endif

int InitBoardPower()
{
#if DT_NODE_EXISTS(DT_NODELABEL(mailbox_flash_sleep))
    const gpio_dt_spec *const pins[] = { &kCs, &kSck, &kMosi, &kMiso, &kWp, &kHold };
    for (const auto *pin : pins) {
        if (!gpio_is_ready_dt(pin)) return -ENODEV;
    }
    MailboxBootCheckpoint(BootDiagnosticStage::FlashGpioReady, "flash GPIO devices ready, before pin configuration");
    const gpio_flags_t flags[] = {
        GPIO_OUTPUT_INACTIVE, GPIO_OUTPUT_INACTIVE, GPIO_OUTPUT_INACTIVE,
        GPIO_DISCONNECTED, GPIO_OUTPUT_ACTIVE, GPIO_OUTPUT_ACTIVE
    };
    for (unsigned i = 0; i < sizeof(pins) / sizeof(pins[0]); ++i) {
        const int ret = gpio_pin_configure_dt(pins[i], flags[i]);
        if (ret < 0) return ret;
    }
    MailboxBootCheckpoint(BootDiagnosticStage::FlashGpioConfigured, "flash pins configured, before deep-power-down command");
    // CS high since reset, WP/HOLD high. 150 us exceeds tVSL (70 us).
    k_busy_wait(150);
    const int ret = SendDeepPowerDown();
    const int release = gpio_pin_set_dt(&kCs, 0);
    // P25Q16H tDP max is 3 us after CS rises. Keep all outputs at CMOS
    // levels. MISO remains an input with its input buffer disconnected and
    // no pull: the sleeping flash leaves it floating, and it is never read.
    k_busy_wait(10);
    MailboxBootCheckpoint(BootDiagnosticStage::FlashCommandComplete, "flash deep-power-down command and CS release returned");
    return ret < 0 ? ret : release;
#else
    // nRF54L15 has no external flash. RF power is initialized before the
    // radio stacks; GPIO hogs initialize unused supplies, LED and divider.
    return CheckRadioPowerInitialization();
#endif
}
```

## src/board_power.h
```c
// SPDX-License-Identifier: GPL-3.0-or-later
#pragma once

// Put unused board peripherals into their lowest power state before Matter starts.
int InitBoardPower();
```

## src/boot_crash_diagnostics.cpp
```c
// SPDX-License-Identifier: GPL-3.0-or-later
#include "boot_crash_diagnostics.h"
#include "boot_diagnostics.h"

#include <zephyr/fatal.h>
#include <zephyr/kernel.h>
#include <zephyr/logging/log.h>
#include <zephyr/shell/shell.h>
#include <zephyr/sys/reboot.h>
#include <cmsis_core.h>
#include <nrfx.h>
#include <stdlib.h>

LOG_MODULE_REGISTER(boot_crash, LOG_LEVEL_INF);

namespace {
// Recorder translation-unit compilation tag helps reject stale records. It is
// not a fingerprint of the full firmware during incremental app-only builds.
constexpr uint32_t kImageTag = MailboxCrash::ImageTag(__DATE__ " " __TIME__);

// Dedicated storage, never a reused stack/buffer address. Zephyr does not clear
// it on warm reboot. Adafruit0.6.1 uses RAM20008000..20040000 too, so bootloader
// survival is best effort until observed; GPREGRET2 provides a separate marker.
__attribute__((section(".noinit.mailbox_crash"))) volatile MailboxCrash::Record g_record;
volatile uint32_t g_abortCaller;
volatile uint32_t g_abortStackPointer;
volatile uint32_t g_abortStackWordCount;
volatile uint32_t g_abortStack[MailboxCrash::StackWords];

int EnterUf2(const struct shell *shell, size_t argc, char **argv)
{
    ARG_UNUSED(shell);
    ARG_UNUSED(argc);
    ARG_UNUSED(argv);
    // Stock0.6.1 recognizes0x57 as CDC+MSC UF2 recovery. No flash is erased.
    g_record.magic = 0;
    NRF_POWER->GPREGRET2 = 0;
    NRF_POWER->GPREGRET = 0x57;
    __DSB();
    NVIC_SystemReset();
    return 0;
}
} // namespace

SHELL_CMD_REGISTER(mailbox_uf2, NULL, "Reboot into stock USB UF2 recovery", EnterUf2);

// The diagnostic linker wraps abort because Zephyr's own strong implementation
// is included with --whole-archive. Capture before its printk destroys LR.
extern "C" FUNC_NORETURN __attribute__((noinline)) void __wrap_abort(void)
{
    g_abortCaller = static_cast<uint32_t>(reinterpret_cast<uintptr_t>(
        __builtin_extract_return_addr(__builtin_return_address(0))));
    uint32_t stackPointer;
    __asm__ volatile("mov %0, sp" : "=r"(stackPointer));
    g_abortStackPointer = stackPointer;
    g_abortStackWordCount = 0;
    // Read upward from this function's actual SP, including its saved caller
    // frame. Check alignment and physical RAM bounds before each bounded copy.
    if ((stackPointer & 3U) == 0U && stackPointer >= 0x20000000U &&
        stackPointer < 0x20040000U) {
        uint32_t count = (0x20040000U - stackPointer) / sizeof(uint32_t);
        if (count > MailboxCrash::StackWords) {
            count = MailboxCrash::StackWords;
        }
        const volatile uint32_t *stack = reinterpret_cast<const volatile uint32_t *>(stackPointer);
        for (uint32_t i = 0; i < count; ++i) {
            g_abortStack[i] = stack[i];
        }
        g_abortStackWordCount = count;
    }
    k_panic();
    CODE_UNREACHABLE;
}

// A strong diagnostic-only policy replaces the weak Zephyr handler. Do not
// LOG_PANIC/print/allocate or return to the damaged kernel while IRQs are locked.
extern "C" void k_sys_fatal_error_handler(unsigned int reason, const struct arch_esf *esf)
{
    g_record.magic = 0;
    g_record.version = MailboxCrash::Version;
    g_record.imageTag = kImageTag;
    g_record.bytes = sizeof(g_record);
    g_record.reason = reason;
    g_record.stage = MailboxBootCurrentStage();
    g_record.frameValid = esf != nullptr;
    g_record.pc = esf ? esf->basic.pc : 0;
    g_record.lr = esf ? esf->basic.lr : 0;
    g_record.xpsr = esf ? esf->basic.xpsr : 0;
    g_record.r0 = esf ? esf->basic.r0 : 0;
    g_record.r1 = esf ? esf->basic.r1 : 0;
    g_record.r2 = esf ? esf->basic.r2 : 0;
    g_record.r3 = esf ? esf->basic.r3 : 0;
    g_record.r12 = esf ? esf->basic.r12 : 0;
    // The architecture decoder may have acknowledged fault status already;
    // these are the register values available at the policy hook, not raw entry.
    g_record.cfsr = SCB->CFSR;
    g_record.hfsr = SCB->HFSR;
    g_record.dfsr = SCB->DFSR;
    g_record.afsr = SCB->AFSR;
    g_record.mmfar = SCB->MMFAR;
    g_record.bfar = SCB->BFAR;
    g_record.icsr = SCB->ICSR;
    g_record.thread = static_cast<uint32_t>(reinterpret_cast<uintptr_t>(k_current_get()));
    g_record.abortCaller = g_abortCaller;
    g_record.abortStackPointer = g_abortStackPointer;
    g_record.abortStackWordCount = g_abortStackWordCount;
    for (uint32_t i = 0; i < MailboxCrash::StackWords; ++i) {
        g_record.abortStack[i] = g_abortStack[i];
    }
    g_record.checksum = MailboxCrash::Checksum(g_record);
    __DSB();
    g_record.magic = MailboxCrash::Magic; // commit last
    NRF_POWER->GPREGRET2 = MailboxCrash::Marker(reason, g_record.stage);
    NRF_POWER->GPREGRET = 0; // normal app restart; recovery command uses0x57
    __DSB();
    sys_reboot(SYS_REBOOT_WARM);
}

void MailboxBootCrashReportAndIdle()
{
    const uint32_t marker = NRF_POWER->GPREGRET2 & 0xffU;
    const bool valid = MailboxCrash::Valid(g_record, kImageTag);
    const bool markerValid = MailboxCrash::MarkerValid(marker);
    const uint32_t bucket = marker >> 5;
    const int markerReason = bucket <= 5U ? static_cast<int>(bucket) - 1 : -1;
    NRF_POWER->GPREGRET2 = 0;
    if (!valid && !markerValid) {
        g_record.magic = 0;
        return;
    }

    // Keep a snapshot after consuming the persistent record, so a later manual
    // reboot can retry rather than being permanently trapped in diagnostic idle.
    MailboxCrash::Record record;
    // Byte access copies volatile storage without aliasing unrelated word types.
    const volatile unsigned char *source = reinterpret_cast<const volatile unsigned char *>(&g_record);
    unsigned char *destination = reinterpret_cast<unsigned char *>(&record);
    for (size_t i = 0; i < sizeof(record); ++i) {
        destination[i] = source[i];
    }
    g_record.magic = 0;

    for (;;) {
        if (valid) {
            LOG_ERR("Retained fatal: reason=%u stage=%u thread=0x%08x frame=%u",
                    record.reason, record.stage, record.thread, record.frameValid);
            LOG_ERR("PC=0x%08x LR=0x%08x xPSR=0x%08x", record.pc, record.lr, record.xpsr);
            LOG_ERR("abort caller=0x%08x SP=0x%08x words=%u",
                    record.abortCaller, record.abortStackPointer, record.abortStackWordCount);
            for (uint32_t i = 0; i < record.abortStackWordCount; i += 4U) {
                LOG_ERR("abort stack[%02u]: %08x %08x %08x %08x", i,
                        record.abortStack[i], record.abortStack[i + 1U],
                        record.abortStack[i + 2U], record.abortStack[i + 3U]);
            }
            LOG_ERR("r0=%08x r1=%08x r2=%08x r3=%08x r12=%08x",
                    record.r0, record.r1, record.r2, record.r3, record.r12);
            LOG_ERR("Hook fault regs: CFSR=%08x HFSR=%08x DFSR=%08x AFSR=%08x",
                    record.cfsr, record.hfsr, record.dfsr, record.afsr);
            LOG_ERR("MMFAR=%08x BFAR=%08x ICSR=%08x", record.mmfar, record.bfar, record.icsr);
        } else {
            LOG_ERR("No valid RAM crash record; GPREGRET2=0x%02x reason=%d stage=%u (other=-1)",
                    marker, markerReason, marker & 31U);
        }
        LOG_INF("Diagnostic idle; use mailbox_uf2 to enter USB recovery");
        k_sleep(K_SECONDS(3));
    }
}
```

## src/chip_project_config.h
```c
// SPDX-License-Identifier: GPL-3.0-or-later
#pragma once
#define CHIP_CONFIG_SECURITY_TEST_MODE 0
#define CHIP_DEVICE_CONFIG_EVENT_LOGGING_UTC_TIMESTAMPS 1
#define CHIP_DEVICE_CONFIG_EVENT_LOGGING_DEBUG_BUFFER_SIZE 512
```
